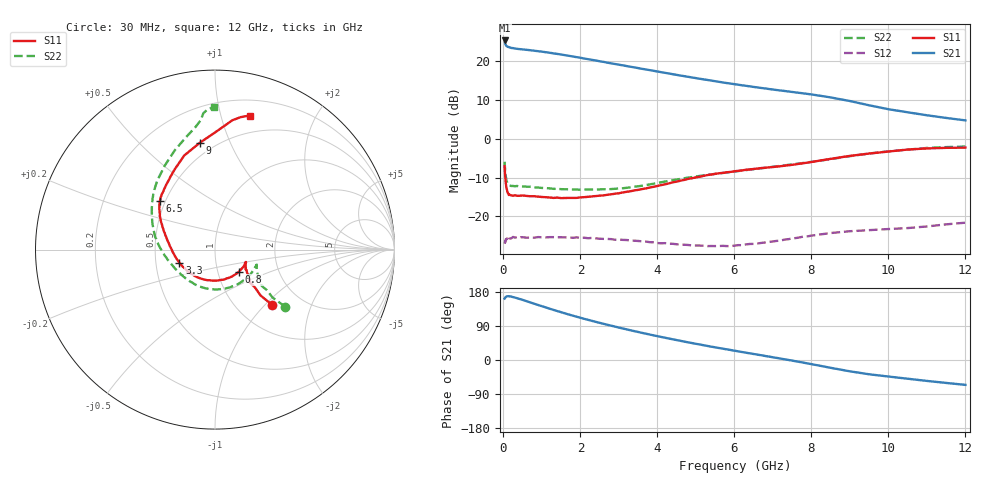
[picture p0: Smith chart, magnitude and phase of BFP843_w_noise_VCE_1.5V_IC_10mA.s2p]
! Infineon Technologies  Discrete & RF Semiconductors
! BFP843
! VCE =  1.5 V,  IC =  10 mA
! Common Emitter S-Parameters:  Aug 2013
# GHz  S  MA  R  50
!  f  S11  S21  S12  S22
! GHz  MAG  ANG  MAG  ANG  MAG  ANG  MAG  ANG
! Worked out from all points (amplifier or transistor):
!   103 points, 30 MHz to 12 GHz, reference 50 ohm
!   highest |S21| = 25.3 dB at 30 MHz (marker M1)
!   |S21| within 3 dB of that: start of sweep to 1.081 GHz
!   unconditionally stable (mu >= 1): 135 MHz to 10.97 GHz
!   at 400 MHz: K = 1.02, MAG = 23.5 dB, |S12| = -25.6 dB
!   at 3.7 GHz: K = 1.33, MAG = 18.7 dB, |S12| = -26.5 dB
!   at 12 GHz: K = 0.86, MSG = 13.2 dB, |S12| = -21.6 dB
!   lowest NFmin = 0.92 dB at 450 MHz
!   S11 on the Smith chart (normalised r, x): 30 MHz: 1.44, -1.10; 800 MHz: 1.26, -0.32; 3.3 GHz: 0.66, -0.10; 6.5 GHz: 0.47, +0.30; 9 GHz: 0.42, +0.78; 12 GHz: 0.34, +1.24
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0.03  0.4416 -44.1  18.47 162.1  0.0446 30.4  0.5056 -39.1
0.04  0.3591 -45.2  17.26 163.3  0.0474 22.5  0.4178 -39.8
0.05  0.3077 -43.5  16.58 165.7  0.0466 17.3  0.3661 -38.0
0.07  0.2483 -40.3  15.78 167.2  0.0508 16.1  0.3092 -34.0
0.13  0.1946 -29.3  15.23 168.5  0.0516 7.1  0.2551 -24.3
0.3  0.187 -22.4  14.54 164.7  0.0534 3.4  0.2446 -20.7
0.8  0.182 -42.9  13.62 148.5  0.0533 -0.6  0.2371 -40.0
1.1  0.1769 -58.0  13.03 138.7  0.0537 -2.0  0.2318 -54.1
1.4  0.1747 -73.4  12.39 129.1  0.054 -3.9  0.2264 -67.9
1.7  0.1731 -89.1  11.72 120.0  0.0537 -5.3  0.2232 -81.7
2.1  0.1772 -109.2  10.81 108.6  0.0532 -7.7  0.2214 -99.8
2.6  0.1866 -132.0  9.784 95.4  0.0514 -9.9  0.2239 -119.9
3.3  0.2111 -160.0  8.473 78.4  0.049 -11.3  0.2367 -146.8
4.1  0.2534 175.1  7.2 60.8  0.0451 -11.8  0.2757 -171.0
5  0.3185 156.7  6.046 42.7  0.0422 -9.0  0.3276 171.7
6.1  0.3869 143.4  4.969 22.8  0.0427 -0.9  0.384 155.6
6.5  0.4091 138.8  4.653 15.9  0.0443 1.9  0.4056 150.1
7.6  0.4689 122.8  3.952 -3.4  0.0527 4.7  0.4748 135.3
8.5  0.5517 108.1  3.411 -20.6  0.0611 2.1  0.5467 120.6
9  0.6022 97.9  3.065 -29.9  0.0645 -1.3  0.5973 112.0
10.5  0.7267 82.4  2.195 -49.4  0.0708 -6.8  0.7253 96.3
12  0.769 75.1  1.726 -65.6  0.0831 -13.8  0.7946 90.4
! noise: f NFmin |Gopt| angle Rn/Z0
0.45  0.92  0.06  5  0.02
0.9  0.93  0.06  16  0.04
1.5  0.95  0.06  26  0.1
1.9  0.97  0.06  34  0.18
2.4  1  0.04  44  0.24
3.5  1.06  0.02  59  0.27
5.5  1.19  0.17  -124  0.32
10  1.82  0.5  -67  0.43
